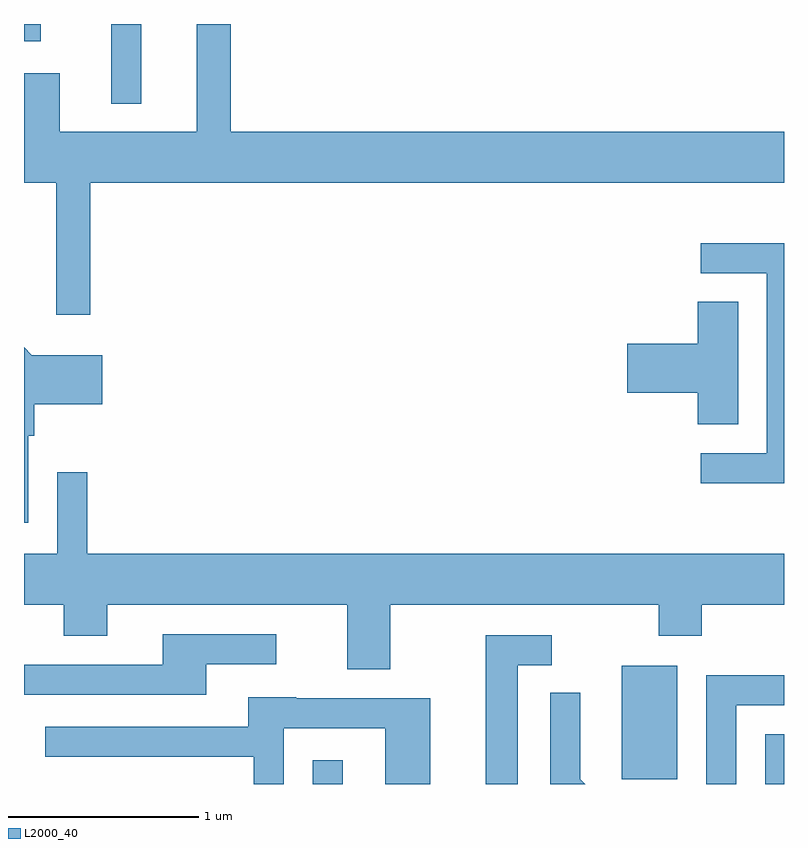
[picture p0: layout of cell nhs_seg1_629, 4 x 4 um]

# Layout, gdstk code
import gdstk
lib = gdstk.Library(unit=1e-6, precision=1e-09)
def R(c, l, rs):  # rectangles x0, y0, x1, y1
    for r in rs: c.add(gdstk.rectangle(r[:2], r[2:], *l))
def P(c, l, *ps):  # polygons
    for p in ps: c.add(gdstk.Polygon(p, *l))
L2000_40 = (2000, 40)

nhs_seg1_629 = lib.new_cell('nhs_seg1_629')
R(nhs_seg1_629, L2000_40, [(205.131,929.712,205.289,929.838), (207.511,929.712,207.611,929.974), (206.756,929.736,207.049,930.334), (204.071,933.293,204.229,933.712), (203.611,933.621,203.699,933.712)])
P(nhs_seg1_629, L2000_40, [(203.959,932.876),(207.611,932.876),(207.611,933.144),(204.699,933.144),(204.699,933.712),(204.521,933.712),(204.521,933.144),(203.799,933.144),(203.799,933.454),(203.611,933.454),(203.611,932.876),(203.781,932.876),(203.781,932.181),(203.959,932.181)],
  [(207.611,932.559),(207.173,932.559),(207.173,932.401),(207.521,932.401),(207.521,931.454),(207.173,931.454),(207.173,931.296),(207.611,931.296)],
  [(207.369,932.249),(207.156,932.249),(207.156,932.029),(206.786,932.029),(206.786,931.771),(207.156,931.771),(207.156,931.606),(207.369,931.606)],
  [(203.634,931.546),(203.664,931.546),(203.664,931.711),(204.024,931.711),(204.024,931.969),(203.652,931.969),(203.611,932.01),(203.611,931.086),(203.634,931.086)],
  [(205.539,930.656),(206.951,930.656),(206.951,930.491),(207.179,930.491),(207.179,930.656),(207.611,930.656),(207.611,930.924),(203.944,930.924),(203.944,931.353),(203.786,931.353),(203.786,930.924),(203.611,930.924),(203.611,930.656),(203.821,930.656),(203.821,930.491),(204.049,930.491),(204.049,930.656),(205.311,930.656),(205.311,930.316),(205.539,930.316)],
  [(204.569,930.341),(204.938,930.341),(204.938,930.499),(204.341,930.499),(204.341,930.339),(203.611,930.339),(203.611,930.181),(204.569,930.181)],
  [(206.209,930.336),(206.388,930.336),(206.388,930.494),(206.041,930.494),(206.041,929.712),(206.209,929.712)],
  [(207.359,930.126),(207.611,930.126),(207.611,930.284),(207.201,930.284),(207.201,929.712),(207.359,929.712)],
  [(206.539,929.737),(206.539,930.193),(206.381,930.193),(206.381,929.712),(206.564,929.712)],
  [(204.979,930.006),(205.511,930.006),(205.511,929.712),(205.749,929.712),(205.749,930.164),(205.045,930.164),(205.045,930.169),(204.791,930.169),(204.791,930.014),(203.723,930.014),(203.723,929.856),(204.821,929.856),(204.821,929.712),(204.979,929.712)])

lib.write_gds('nhs_seg1_629.gds')
